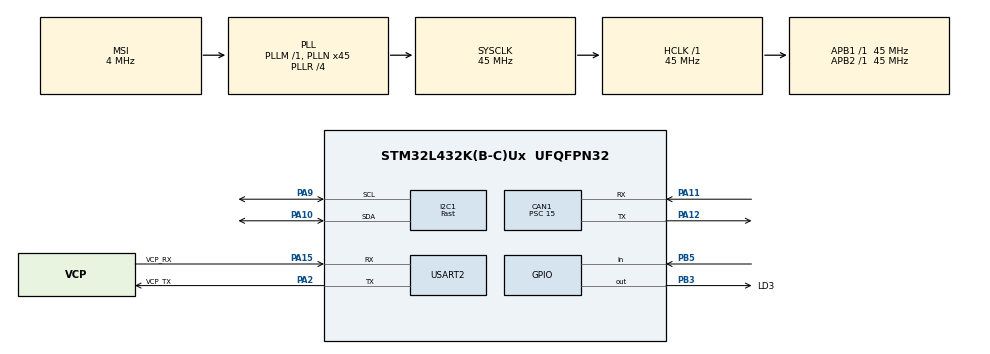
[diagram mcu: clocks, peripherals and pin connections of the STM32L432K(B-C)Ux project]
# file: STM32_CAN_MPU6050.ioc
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CAN1.BS1=CAN_BS1_2TQ
CAN1.BS2=CAN_BS2_3TQ
CAN1.CalculateBaudRate=500000
CAN1.CalculateTimeBit=2000
CAN1.CalculateTimeQuantum=333.3333333333333
CAN1.Prescaler=15
I2C1.I2C_Speed_Mode=I2C_Fast
I2C1.Timing=0x00401650
Mcu.Family=STM32L4
Mcu.Name=STM32L432K(B-C)Ux
Mcu.Package=UFQFPN32
NVIC.PriorityGroup=NVIC_PRIORITYGROUP_4
PA0.GPIO_Label=MCO [High speed clock in]
PA0.Signal=RCC_CK_IN
PA10.Mode=I2C
PA10.Signal=I2C1_SDA
PA11.GPIO_PuPd=GPIO_PULLUP
PA11.Mode=CAN_Activate
PA11.Signal=CAN1_RX
PA12.Mode=CAN_Activate
PA12.Signal=CAN1_TX
PA13\ (JTMS-SWDIO).GPIO_Label=SWDIO
PA13\ (JTMS-SWDIO).Signal=SYS_JTMS-SWDIO
PA14\ (JTCK-SWCLK).GPIO_Label=SWCLK
PA14\ (JTCK-SWCLK).Signal=SYS_JTCK-SWCLK
PA15\ (JTDI).GPIO_Label=VCP_RX
PA15\ (JTDI).Mode=Asynchronous
PA15\ (JTDI).Signal=USART2_RX
PA2.GPIO_Label=VCP_TX
PA2.Mode=Asynchronous
PA2.Signal=USART2_TX
PA9.Mode=I2C
PA9.Signal=I2C1_SCL
PB3\ (JTDO-TRACESWO).GPIO_Label=LD3
PB3\ (JTDO-TRACESWO).Signal=GPIO_Output
PB5.Signal=GPIO_Input
PC14-OSC32_IN\ (PC14).Signal=RCC_OSC32_IN
PC15-OSC32_OUT\ (PC15).Signal=RCC_OSC32_OUT
ProjectManager.HeapSize=0x200
ProjectManager.StackSize=0x400
ProjectManager.TargetToolchain=STM32CubeIDE
RCC.AHBFreq_Value=45000000
RCC.APB1Freq_Value=45000000
RCC.APB1TimFreq_Value=45000000
RCC.APB2Freq_Value=45000000
RCC.APB2TimFreq_Value=45000000
RCC.CortexFreq_Value=45000000
RCC.HCLKFreq_Value=45000000
RCC.HSE_VALUE=8000000
RCC.HSI16_VALUE=16000000
RCC.HSI48_VALUE=48000000
RCC.HSI_VALUE=16000000
RCC.LSE_VALUE=32768
RCC.MSI_VALUE=4000000
RCC.PLLMUL=RCC_PLLMUL_4
RCC.PLLN=45
RCC.PLLR=RCC_PLLR_DIV4
RCC.SYSCLKFreq_VALUE=45000000
RCC.SYSCLKSource=RCC_SYSCLKSOURCE_PLLCLK
RCC.VCOOutputFreq_Value=180000000
USART2.VirtualMode-Asynchronous=VM_ASYNC
board=NUCLEO-L432KC

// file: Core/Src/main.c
/* USER CODE BEGIN Header */
/**
  ******************************************************************************
  * @file           : main.c
  * @brief          : Main program body
  ******************************************************************************
  * @attention
  *
  * Copyright (c) 2024 STMicroelectronics.
  * All rights reserved.
  *
  * This software is licensed under terms that can be found in the LICENSE file
  * in the root directory of this software component.
  * If no LICENSE file comes with this software, it is provided AS-IS.
  *
  ******************************************************************************
  */
/* USER CODE END Header */
#include "main.h"
#include "can.h"
#include "i2c.h"
#include "usart.h"
#include "gpio.h"

/* USER CODE BEGIN Includes */
#include <stdio.h>
#include "MPU6050.h"
#include "CalculateAngle.h"
/* USER CODE END Includes */

/* USER CODE BEGIN PD */
#define LD3 GPIO_PIN_3

/* USER CODE END PD */

/* USER CODE BEGIN PV */
int _write(int file, uint8_t* p, int len)
{
	if(HAL_UART_Transmit(&huart2, p, len, len) == HAL_OK )
	{
		return len;
	}
	return 0;
}

/* USER CODE END PV */

void SystemClock_Config(void);

/* USER CODE BEGIN 0 */
CAN_TxHeaderTypeDef TxHeader;
CAN_RxHeaderTypeDef RxHeader;

uint32_t TxMailbox[4];
uint8_t TxData[8];

/* USER CODE END 0 */

int main(void)
{

  /* MCU Configuration--------------------------------------------------------*/

  /* Reset of all peripherals, Initializes the Flash interface and the Systick. */
  HAL_Init();

  /* Configure the system clock */
  SystemClock_Config();

  /* Initialize all configured peripherals */
  MX_GPIO_Init();
  MX_CAN1_Init();
  MX_USART2_UART_Init();
  MX_I2C1_Init();
  /* USER CODE BEGIN 2 */

  MPU6050_Initialization();
  HAL_CAN_Start(&hcan1);

  HAL_CAN_ActivateNotification(&hcan1, CAN_IT_RX_FIFO0_MSG_PENDING);

  printf("Siemano\n");

  TxHeader.DLC = 4;
  TxHeader.ExtId = 0;
  TxHeader.IDE = CAN_ID_STD;
  TxHeader.RTR = CAN_RTR_DATA;
  TxHeader.StdId = 0x111;
  TxHeader.TransmitGlobalTime = DISABLE;

  /* USER CODE END 2 */

  /* Infinite loop */
  while (1)
  {

    /* USER CODE BEGIN 3 */

	  if (MPU6050_DataReady() == 1)
	  {
	      MPU6050_ProcessData(&MPU6050);
	      CalculateAccAngle(&Angle, &MPU6050);
	      printf("Kąt nachylenia\n");
	      printf("%f\n", Angle.acc_pitch);
	      printf("\n");

	      // Convert the floating-point value to an integer
	      int32_t acc_pitch_integer = (int32_t)Angle.acc_pitch;

	      // Store the integer value in TxData[0]
	      *(int32_t*)&TxData[0] = acc_pitch_integer;

	     TxData[1] = 2;
	     TxData[2] = 0x03;		// Test dla kolejnych danych

	      if (HAL_CAN_AddTxMessage(&hcan1, &TxHeader, TxData, &TxMailbox[0]) != HAL_OK)
	      {
	          Error_Handler();
	      }

	      HAL_Delay(250);
	  }

  }
  /* USER CODE END 3 */
}

void SystemClock_Config(void)
{
  RCC_OscInitTypeDef RCC_OscInitStruct = {0};
  RCC_ClkInitTypeDef RCC_ClkInitStruct = {0};

  /** Configure the main internal regulator output voltage
  */
  if (HAL_PWREx_ControlVoltageScaling(PWR_REGULATOR_VOLTAGE_SCALE1) != HAL_OK)
  {
    Error_Handler();
  }

  /** Initializes the RCC Oscillators according to the specified parameters
  * in the RCC_OscInitTypeDef structure.
  */
  RCC_OscInitStruct.OscillatorType = RCC_OSCILLATORTYPE_MSI;
  RCC_OscInitStruct.MSIState = RCC_MSI_ON;
  RCC_OscInitStruct.MSICalibrationValue = 0;
  RCC_OscInitStruct.MSIClockRange = RCC_MSIRANGE_6;
  RCC_OscInitStruct.PLL.PLLState = RCC_PLL_ON;
  RCC_OscInitStruct.PLL.PLLSource = RCC_PLLSOURCE_MSI;
  RCC_OscInitStruct.PLL.PLLM = 1;
  RCC_OscInitStruct.PLL.PLLN = 45;
  RCC_OscInitStruct.PLL.PLLP = RCC_PLLP_DIV7;
  RCC_OscInitStruct.PLL.PLLQ = RCC_PLLQ_DIV2;
  RCC_OscInitStruct.PLL.PLLR = RCC_PLLR_DIV4;
  if (HAL_RCC_OscConfig(&RCC_OscInitStruct) != HAL_OK)
  {
    Error_Handler();
  }

  /** Initializes the CPU, AHB and APB buses clocks
  */
  RCC_ClkInitStruct.ClockType = RCC_CLOCKTYPE_HCLK|RCC_CLOCKTYPE_SYSCLK
                              |RCC_CLOCKTYPE_PCLK1|RCC_CLOCKTYPE_PCLK2;
  RCC_ClkInitStruct.SYSCLKSource = RCC_SYSCLKSOURCE_PLLCLK;
  RCC_ClkInitStruct.AHBCLKDivider = RCC_SYSCLK_DIV1;
  RCC_ClkInitStruct.APB1CLKDivider = RCC_HCLK_DIV1;
  RCC_ClkInitStruct.APB2CLKDivider = RCC_HCLK_DIV1;

  if (HAL_RCC_ClockConfig(&RCC_ClkInitStruct, FLASH_LATENCY_2) != HAL_OK)
  {
    Error_Handler();
  }
}

void Error_Handler(void)
{
  __disable_irq();
  while (1)
  {
  }
}
